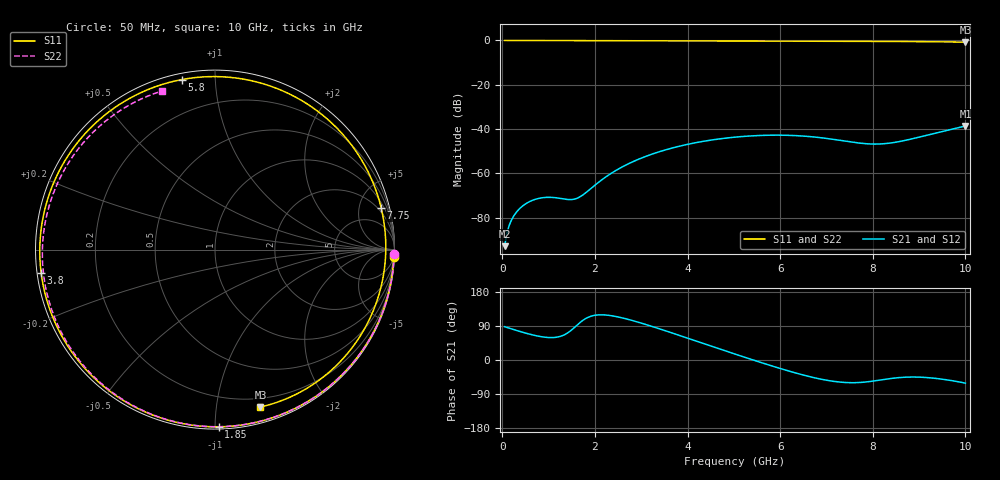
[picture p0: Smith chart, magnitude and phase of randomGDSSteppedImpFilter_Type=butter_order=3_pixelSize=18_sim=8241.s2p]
! freq	dB(S11)	phase(S11)	dB(S12)	phase(S12)
!  dB(S21)	phase(S21)	dB(S22)	phase(S22)
!S-par simulation data
#  GHz  S  DB  R 50
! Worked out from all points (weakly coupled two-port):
!   200 points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, 50 MHz to 10 GHz, reference 50 ohm
!   highest |S21| = -38.63 dB at 10 GHz (marker M1); lowest = -92.9 dB at 50 MHz (marker M2)
!   lowest |S11| = -0.8 dB at 10 GHz (marker M3), VSWR 21.92, Z = 6.29 - j66.1 ohm
!   |S11| at or under -10 dB: nowhere
!   |S22| runs from -0.6 to 0.0 dB; largest |S21 - S12| = 0
!   S11 on the Smith chart (normalised r, x): 50 MHz: 4, -46; 1.85 GHz: 0.01, -1.02; 3.8 GHz: 0.01, -0.07; 5.8 GHz: 0.03, +0.82; 7.75 GHz: 1.53, +7.90; 10 GHz: 0.13, -1.32
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0.05  -0.03 -2.5  -92.88 87.8  -92.88 87.8  -0.02 -1.5
0.2  -0.03 -9.9  -81.01 82.0  -81.01 82.0  -0.02 -5.9
0.45  -0.04 -22.3  -74.57 72.8  -74.57 72.8  -0.02 -13.3
0.75  -0.05 -37.1  -71.51 63.6  -71.51 63.6  -0.03 -22.1
1.15  -0.07 -56.3  -71.00 59.8  -71.00 59.8  -0.04 -33.7
1.5  -0.09 -72.8  -71.83 79.6  -71.83 79.6  -0.05 -43.7
1.75  -0.10 -84.2  -69.60 105.6  -69.60 105.6  -0.06 -50.6
1.85  -0.11 -88.8  -67.96 112.5  -67.96 112.5  -0.07 -53.4
2.55  -0.14 -119.6  -57.55 112.3  -57.55 112.3  -0.09 -72.2
3  -0.16 -138.8  -53.14 97.4  -53.14 97.4  -0.11 -83.9
3.4  -0.18 -155.6  -50.19 82.1  -50.19 82.1  -0.12 -93.9
3.8  -0.20 -172.4  -47.88 65.9  -47.88 65.9  -0.13 -103.6
4.4  -0.23 162.3  -45.35 41.2  -45.35 41.2  -0.16 -117.8
5.05  -0.27 134.3  -43.62 14.6  -43.62 14.6  -0.19 -132.6
5.8  -0.31 101.0  -42.79 -14.9  -42.79 -14.9  -0.24 -149.4
6.25  -0.33 80.6  -42.90 -31.3  -42.90 -31.3  -0.27 -159.4
6.7  -0.35 60.2  -43.53 -45.7  -43.53 -45.7  -0.30 -169.4
7.25  -0.37 35.6  -44.97 -57.8  -44.97 -57.8  -0.35 178.2
7.75  -0.40 13.9  -46.43 -59.1  -46.43 -59.1  -0.39 166.7
8.35  -0.46 -10.9  -46.41 -49.5  -46.41 -49.5  -0.45 152.3
9.2  -0.58 -44.0  -42.65 -46.6  -42.65 -46.6  -0.53 130.6
10  -0.79 -73.9  -38.63 -61.1  -38.63 -61.1  -0.62 108.4
